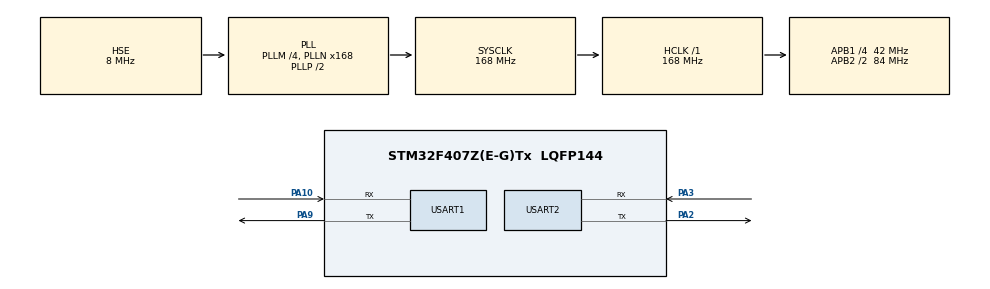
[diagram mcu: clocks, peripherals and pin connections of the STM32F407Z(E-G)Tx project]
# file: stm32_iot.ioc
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FREERTOS.Tasks01=defaultTask,0,128,StartDefaultTask,Default,NULL,Dynamic,NULL,NULL
Mcu.Family=STM32F4
Mcu.Name=STM32F407Z(E-G)Tx
Mcu.Package=LQFP144
NVIC.PriorityGroup=NVIC_PRIORITYGROUP_4
NVIC.TIM1_UP_TIM10_IRQn=true\:0\:0\:false\:false\:true\:false\:false\:true
NVIC.TimeBase=TIM1_UP_TIM10_IRQn
NVIC.TimeBaseIP=TIM1
NVIC.USART2_IRQn=true\:6\:0\:true\:false\:true\:true\:true\:true
PA10.Mode=Asynchronous
PA10.Signal=USART1_RX
PA13.Mode=Trace_Asynchronous_SW
PA13.Signal=SYS_JTMS-SWDIO
PA14.Mode=Trace_Asynchronous_SW
PA14.Signal=SYS_JTCK-SWCLK
PA2.Mode=Asynchronous
PA2.Signal=USART2_TX
PA3.Mode=Asynchronous
PA3.Signal=USART2_RX
PA9.Mode=Asynchronous
PA9.Signal=USART1_TX
PB3.Mode=Trace_Asynchronous_SW
PB3.Signal=SYS_JTDO-SWO
PH0-OSC_IN.Mode=HSE-External-Oscillator
PH0-OSC_IN.Signal=RCC_OSC_IN
PH1-OSC_OUT.Mode=HSE-External-Oscillator
PH1-OSC_OUT.Signal=RCC_OSC_OUT
ProjectManager.HeapSize=0x400
ProjectManager.StackSize=0x200
ProjectManager.TargetToolchain=MDK-ARM V5
RCC.48MHZClocksFreq_Value=84000000
RCC.AHBFreq_Value=168000000
RCC.APB1CLKDivider=RCC_HCLK_DIV4
RCC.APB1Freq_Value=42000000
RCC.APB1TimFreq_Value=84000000
RCC.APB2CLKDivider=RCC_HCLK_DIV2
RCC.APB2Freq_Value=84000000
RCC.APB2TimFreq_Value=168000000
RCC.CortexFreq_Value=168000000
RCC.HCLKFreq_Value=168000000
RCC.HSE_VALUE=8000000
RCC.HSI_VALUE=16000000
RCC.LSE_VALUE=32768
RCC.PLLM=4
RCC.PLLN=168
RCC.PLLSourceVirtual=RCC_PLLSOURCE_HSE
RCC.SYSCLKFreq_VALUE=168000000
RCC.SYSCLKSource=RCC_SYSCLKSOURCE_PLLCLK
RCC.VCOOutputFreq_Value=336000000
USART1.VirtualMode=VM_ASYNC
USART2.VirtualMode=VM_ASYNC
VP_FREERTOS_VS_CMSIS_V1.Mode=CMSIS_V1
VP_SYS_VS_tim1.Mode=TIM1
board=custom

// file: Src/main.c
/* USER CODE BEGIN Header */
/**
  ******************************************************************************
  * @file           : main.c
  * @brief          : Main program body
  ******************************************************************************
  * @attention
  *
  * <h2><center>&copy; Copyright (c) 2020 STMicroelectronics.
  * All rights reserved.</center></h2>
  *
  * This software component is licensed by ST under BSD 3-Clause license,
  * the "License"; You may not use this file except in compliance with the
  * License. You may obtain a copy of the License at:
  *                        opensource.org/licenses/BSD-3-Clause
  *
  ******************************************************************************
  */
/* USER CODE END Header */

#include "main.h"
#include "cmsis_os.h"
#include "usart.h"
#include "gpio.h"

/* USER CODE BEGIN Includes */
#include "stdio.h"
#include "esp8266.h"
#include "hal_esp8266.h"
#include "stm32f4xx_hal.h"
#include "string.h"
/* USER CODE END Includes */

void SystemClock_Config(void);
void MX_FREERTOS_Init(void);

int main(void)
{

  /* MCU Configuration--------------------------------------------------------*/

  /* Reset of all peripherals, Initializes the Flash interface and the Systick. */
  HAL_Init();

  /* Configure the system clock */
  SystemClock_Config();

  /* Initialize all configured peripherals */
  MX_GPIO_Init();
  MX_USART1_UART_Init();
  MX_USART2_UART_Init();
  /* USER CODE BEGIN 2 */

  ESP8266_init();  //init esp8266 instance
  //ESP8266_receive_IT(&esp8266,NULL,0,0);
  uint32_t timer = 0,count = 0;
  timer = HAL_GetTick();
  EVENT event;
  //TCP_client_MessageTypeDef tcp_client_Message;
  /*初始化AP+STA模式，并且初始化AP*/
  ESP8266_MODE(&esp8266);
  ESP8266_INIT_AP(&esp8266);
  /* USER CODE END 2 */

  /* Call init function for freertos objects (in freertos.c) */
  MX_FREERTOS_Init();

  /* Start scheduler */
  osKernelStart();

  /* We should never get here as control is now taken by the scheduler */

  /* Infinite loop */
  while (1)
  {

    /* USER CODE BEGIN 3 */
     // printf("%d\r\n", timer);
      while((HAL_GetTick() - timer ) < 5);
      timer = HAL_GetTick();

      event = INIT_EVENT;

      switch(event)
      {
          case INIT_EVENT:

                if( count == 0 )
                {
                    count++;
                    ESP8266_CREATE_TCP(&esp8266);

                }
                esp8266_receive(&esp8266,500);
//                 if(esp8266.receiveframelength > 0 && strcmp(, ""); )
//                 {
//
//                    tcp_client_Message.id =
//
//
//                }

                 //event = MAX_EVENT;
              break;
          case MAX_EVENT:

              break;
          default :

              break;

      }

      if(esp8266.receiveframeflag == 1)
      {
        HAL_UART_Transmit(&huart1, (uint8_t *)esp8266.buffer, esp8266.receiveframelength, 100);
        esp8266.receiveframelength = 0;
         esp8266.receiveframeflag = 0;
      }
  }
  /* USER CODE END 3 */
}

void SystemClock_Config(void)
{
  RCC_OscInitTypeDef RCC_OscInitStruct = {0};
  RCC_ClkInitTypeDef RCC_ClkInitStruct = {0};

  /** Configure the main internal regulator output voltage
  */
  __HAL_RCC_PWR_CLK_ENABLE();
  __HAL_PWR_VOLTAGESCALING_CONFIG(PWR_REGULATOR_VOLTAGE_SCALE1);
  /** Initializes the CPU, AHB and APB busses clocks
  */
  RCC_OscInitStruct.OscillatorType = RCC_OSCILLATORTYPE_HSE;
  RCC_OscInitStruct.HSEState = RCC_HSE_ON;
  RCC_OscInitStruct.PLL.PLLState = RCC_PLL_ON;
  RCC_OscInitStruct.PLL.PLLSource = RCC_PLLSOURCE_HSE;
  RCC_OscInitStruct.PLL.PLLM = 4;
  RCC_OscInitStruct.PLL.PLLN = 168;
  RCC_OscInitStruct.PLL.PLLP = RCC_PLLP_DIV2;
  RCC_OscInitStruct.PLL.PLLQ = 4;
  if (HAL_RCC_OscConfig(&RCC_OscInitStruct) != HAL_OK)
  {
    Error_Handler();
  }
  /** Initializes the CPU, AHB and APB busses clocks
  */
  RCC_ClkInitStruct.ClockType = RCC_CLOCKTYPE_HCLK|RCC_CLOCKTYPE_SYSCLK
                              |RCC_CLOCKTYPE_PCLK1|RCC_CLOCKTYPE_PCLK2;
  RCC_ClkInitStruct.SYSCLKSource = RCC_SYSCLKSOURCE_PLLCLK;
  RCC_ClkInitStruct.AHBCLKDivider = RCC_SYSCLK_DIV1;
  RCC_ClkInitStruct.APB1CLKDivider = RCC_HCLK_DIV4;
  RCC_ClkInitStruct.APB2CLKDivider = RCC_HCLK_DIV2;

  if (HAL_RCC_ClockConfig(&RCC_ClkInitStruct, FLASH_LATENCY_5) != HAL_OK)
  {
    Error_Handler();
  }
}

void HAL_TIM_PeriodElapsedCallback(TIM_HandleTypeDef *htim)
{
  if (htim->Instance == TIM1) {
    HAL_IncTick();
  }
}

void Error_Handler(void)
{
}

/************************ (C) COPYRIGHT STMicroelectronics *****END OF FILE****/

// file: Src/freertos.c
/* USER CODE BEGIN Header */
/**
  ******************************************************************************
  * File Name          : freertos.c
  * Description        : Code for freertos applications
  ******************************************************************************
  * @attention
  *
  * <h2><center>&copy; Copyright (c) 2020 STMicroelectronics.
  * All rights reserved.</center></h2>
  *
  * This software component is licensed by ST under Ultimate Liberty license
  * SLA0044, the "License"; You may not use this file except in compliance with
  * the License. You may obtain a copy of the License at:
  *                             www.st.com/SLA0044
  *
  ******************************************************************************
  */
/* USER CODE END Header */

#include "FreeRTOS.h"
#include "task.h"
#include "main.h"
#include "cmsis_os.h"

/* USER CODE BEGIN Includes */
#include "thread.h"
#include "stdio.h"
/* USER CODE END Includes */

/* USER CODE BEGIN Variables */
osThreadId mainThreadHandle;
osThreadId espReceiveThreadHandle;
/* USER CODE END Variables */
osThreadId defaultTaskHandle;

void StartDefaultTask(void const * argument);

void MX_FREERTOS_Init(void); /* (MISRA C 2004 rule 8.1) */

/* GetIdleTaskMemory prototype (linked to static allocation support) */
void vApplicationGetIdleTaskMemory( StaticTask_t **ppxIdleTaskTCBBuffer, StackType_t **ppxIdleTaskStackBuffer, uint32_t *pulIdleTaskStackSize );

/* USER CODE BEGIN GET_IDLE_TASK_MEMORY */
static StaticTask_t xIdleTaskTCBBuffer;
static StackType_t xIdleStack[configMINIMAL_STACK_SIZE];

void vApplicationGetIdleTaskMemory( StaticTask_t **ppxIdleTaskTCBBuffer, StackType_t **ppxIdleTaskStackBuffer, uint32_t *pulIdleTaskStackSize )
{
  *ppxIdleTaskTCBBuffer = &xIdleTaskTCBBuffer;
  *ppxIdleTaskStackBuffer = &xIdleStack[0];
  *pulIdleTaskStackSize = configMINIMAL_STACK_SIZE;
  /* place for user code */
}
/* USER CODE END GET_IDLE_TASK_MEMORY */

void MX_FREERTOS_Init(void) {

  /* Create the thread(s) */
  /* definition and creation of defaultTask */
  osThreadDef(defaultTask, StartDefaultTask, osPriorityNormal, 0, 128);
  defaultTaskHandle = osThreadCreate(osThread(defaultTask), NULL);

  /* USER CODE BEGIN RTOS_THREADS */
  /* add threads, ... */

  osThreadDef(mainThread, main_thread, osPriorityNormal, 0, 128);
  mainThreadHandle = osThreadCreate(osThread(mainThread), NULL);

  osThreadDef(espReceiveThread, esp_receive_thread, osPriorityNormal, 0, 128);
  espReceiveThreadHandle = osThreadCreate(osThread(espReceiveThread), NULL);

  /* USER CODE END RTOS_THREADS */

}

void StartDefaultTask(void const * argument)
{

  for(;;)
  {
    osDelay(1);
  }
}

/************************ (C) COPYRIGHT STMicroelectronics *****END OF FILE****/
